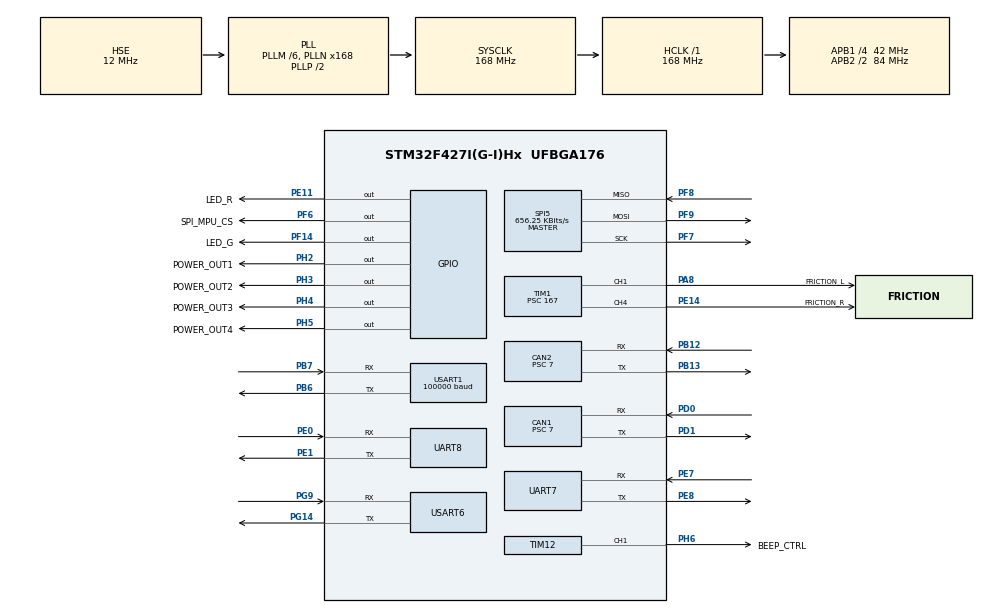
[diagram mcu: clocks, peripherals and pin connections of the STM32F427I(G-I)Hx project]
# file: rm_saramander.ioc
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CAN1.BS1=CAN_BS1_2TQ
CAN1.BS2=CAN_BS2_3TQ
CAN1.CalculateTimeQuantum=166.66666666666669
CAN1.NART=ENABLE
CAN1.Prescaler=7
CAN1.TXFP=ENABLE
CAN2.BS1=CAN_BS1_2TQ
CAN2.BS2=CAN_BS2_3TQ
CAN2.CalculateTimeQuantum=166.66666666666669
CAN2.NART=ENABLE
CAN2.Prescaler=7
CAN2.TXFP=ENABLE
Mcu.Family=STM32F4
Mcu.Name=STM32F427I(G-I)Hx
Mcu.Package=UFBGA176
NVIC.CAN1_RX0_IRQn=true\:0\:0\:false\:false\:true\:true\:true
NVIC.CAN1_RX1_IRQn=true\:0\:0\:false\:false\:true\:true\:true
NVIC.CAN2_RX0_IRQn=true\:0\:0\:false\:false\:true\:true\:true
NVIC.CAN2_RX1_IRQn=true\:0\:0\:false\:false\:true\:true\:true
NVIC.PriorityGroup=NVIC_PRIORITYGROUP_4
NVIC.TIM6_DAC_IRQn=true\:1\:0\:true\:false\:true\:true\:true
NVIC.UART8_IRQn=true\:0\:0\:false\:false\:true\:true\:true
NVIC.USART1_IRQn=true\:0\:0\:false\:false\:true\:true\:true
NVIC.USART6_IRQn=true\:0\:0\:false\:false\:true\:true\:true
PA13.Mode=Serial_Wire
PA13.Signal=SYS_JTMS-SWDIO
PA14.Mode=Serial_Wire
PA14.Signal=SYS_JTCK-SWCLK
PA8.GPIO_Label=FRICTION_L
PA8.Signal=S_TIM1_CH1
PB12.Mode=Slave
PB12.Signal=CAN2_RX
PB13.Mode=Slave
PB13.Signal=CAN2_TX
PB6.Mode=Asynchronous
PB6.Signal=USART1_TX
PB7.Mode=Asynchronous
PB7.Signal=USART1_RX
PD0.Mode=Master
PD0.Signal=CAN1_RX
PD1.Mode=Master
PD1.Signal=CAN1_TX
PE0.Mode=Asynchronous
PE0.Signal=UART8_RX
PE1.Mode=Asynchronous
PE1.Signal=UART8_TX
PE11.GPIO_Label=LED_R
PE11.PinState=GPIO_PIN_SET
PE11.Signal=GPIO_Output
PE14.GPIO_Label=FRICTION_R
PE14.Signal=S_TIM1_CH4
PE7.Mode=Asynchronous
PE7.Signal=UART7_RX
PE8.Mode=Asynchronous
PE8.Signal=UART7_TX
PF14.GPIO_Label=LED_G
PF14.PinState=GPIO_PIN_SET
PF14.Signal=GPIO_Output
PF6.GPIO_Label=SPI_MPU_CS
PF6.PinState=GPIO_PIN_SET
PF6.Signal=GPIO_Output
PF7.Mode=Full_Duplex_Master
PF7.Signal=SPI5_SCK
PF8.Mode=Full_Duplex_Master
PF8.Signal=SPI5_MISO
PF9.Mode=Full_Duplex_Master
PF9.Signal=SPI5_MOSI
PG14.Mode=Asynchronous
PG14.Signal=USART6_TX
PG9.Mode=Asynchronous
PG9.Signal=USART6_RX
PH0/OSC_IN.Mode=HSE-External-Oscillator
PH0/OSC_IN.Signal=RCC_OSC_IN
PH1/OSC_OUT.Mode=HSE-External-Oscillator
PH1/OSC_OUT.Signal=RCC_OSC_OUT
PH2.GPIO_Label=POWER_OUT1
PH2.Signal=GPIO_Output
PH3.GPIO_Label=POWER_OUT2
PH3.Signal=GPIO_Output
PH4.GPIO_Label=POWER_OUT3
PH4.Signal=GPIO_Output
PH5.GPIO_Label=POWER_OUT4
PH5.Signal=GPIO_Output
PH6.GPIO_Label=BEEP_CTRL
PH6.Signal=S_TIM12_CH1
ProjectManager.HeapSize=0x200
ProjectManager.StackSize=0x400
ProjectManager.TargetToolchain=STM32CubeIDE
RCC.48MHZClocksFreq_Value=84000000
RCC.AHBFreq_Value=168000000
RCC.APB1CLKDivider=RCC_HCLK_DIV4
RCC.APB1Freq_Value=42000000
RCC.APB1TimFreq_Value=84000000
RCC.APB2CLKDivider=RCC_HCLK_DIV2
RCC.APB2Freq_Value=84000000
RCC.APB2TimFreq_Value=168000000
RCC.CortexFreq_Value=168000000
RCC.HCLKFreq_Value=168000000
RCC.HSE_VALUE=12000000
RCC.HSI_VALUE=16000000
RCC.LSE_VALUE=32768
RCC.PLLM=6
RCC.PLLN=168
RCC.PLLSourceVirtual=RCC_PLLSOURCE_HSE
RCC.SYSCLKFreq_VALUE=168000000
RCC.SYSCLKSource=RCC_SYSCLKSOURCE_PLLCLK
RCC.VCOOutputFreq_Value=336000000
SH.S_TIM12_CH1.0=TIM12_CH1,PWM Generation1 CH1
SH.S_TIM1_CH1.0=TIM1_CH1,PWM Generation1 CH1
SH.S_TIM1_CH4.0=TIM1_CH4,PWM Generation4 CH4
SPI5.BaudRatePrescaler=SPI_BAUDRATEPRESCALER_128
SPI5.CalculateBaudRate=656.25 KBits/s
SPI5.Direction=SPI_DIRECTION_2LINES
SPI5.Mode=SPI_MODE_MASTER
SPI5.VirtualType=VM_MASTER
TIM1.Channel-PWM\ Generation1\ CH1=TIM_CHANNEL_1
TIM1.Channel-PWM\ Generation4\ CH4=TIM_CHANNEL_4
TIM1.Period=20000-1
TIM1.Prescaler=167
TIM1.Pulse-PWM\ Generation1\ CH1=1000
TIM1.Pulse-PWM\ Generation4\ CH4=1000
TIM12.Channel-PWM\ Generation1\ CH1=TIM_CHANNEL_1
TIM12.Period=20000-1
TIM12.Prescaler=83
TIM6.Period=16800
TIM6.Prescaler=10-1
UART7.VirtualMode=Asynchronous
UART8.VirtualMode=Asynchronous
USART1.BaudRate=100000
USART1.Mode=MODE_TX_RX
USART1.Parity=PARITY_NONE
USART1.VirtualMode=VM_ASYNC
USART6.VirtualMode=VM_ASYNC
VP_TIM6_VS_ClockSourceINT.Mode=Enable_Timer
board=custom

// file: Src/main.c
/**
  ******************************************************************************
  * @file           : main.c
  * @brief          : Main program body
  ******************************************************************************
  ** This notice applies to any and all portions of this file
  * that are not between comment pairs USER CODE BEGIN and
  * USER CODE END. Other portions of this file, whether
  * inserted by the user or by software development tools
  * are owned by their respective copyright owners.
  *
  * COPYRIGHT(c) 2019 STMicroelectronics
  *
  * Redistribution and use in source and binary forms, with or without modification,
  * are permitted provided that the following conditions are met:
  *   1. Redistributions of source code must retain the above copyright notice,
  *      this list of conditions and the following disclaimer.
  *   2. Redistributions in binary form must reproduce the above copyright notice,
  *      this list of conditions and the following disclaimer in the documentation
  *      and/or other materials provided with the distribution.
  *   3. Neither the name of STMicroelectronics nor the names of its contributors
  *      may be used to endorse or promote products derived from this software
  *      without specific prior written permission.
  *
  * THIS SOFTWARE IS PROVIDED BY THE COPYRIGHT HOLDERS AND CONTRIBUTORS "AS IS"
  * AND ANY EXPRESS OR IMPLIED WARRANTIES, INCLUDING, BUT NOT LIMITED TO, THE
  * IMPLIED WARRANTIES OF MERCHANTABILITY AND FITNESS FOR A PARTICULAR PURPOSE ARE
  * DISCLAIMED. IN NO EVENT SHALL THE COPYRIGHT HOLDER OR CONTRIBUTORS BE LIABLE
  * FOR ANY DIRECT, INDIRECT, INCIDENTAL, SPECIAL, EXEMPLARY, OR CONSEQUENTIAL
  * DAMAGES (INCLUDING, BUT NOT LIMITED TO, PROCUREMENT OF SUBSTITUTE GOODS OR
  * SERVICES; LOSS OF USE, DATA, OR PROFITS; OR BUSINESS INTERRUPTION) HOWEVER
  * CAUSED AND ON ANY THEORY OF LIABILITY, WHETHER IN CONTRACT, STRICT LIABILITY,
  * OR TORT (INCLUDING NEGLIGENCE OR OTHERWISE) ARISING IN ANY WAY OUT OF THE USE
  * OF THIS SOFTWARE, EVEN IF ADVISED OF THE POSSIBILITY OF SUCH DAMAGE.
  *
  ******************************************************************************
  */
#include "main.h"
#include "stm32f4xx_hal.h"
#include "can.h"
#include "spi.h"
#include "tim.h"
#include "usart.h"
#include "gpio.h"

/* USER CODE BEGIN Includes */
#include "math.h"
#include "remote_controller.h"
#include "wheel.h"
#include "pid.h"
#include "motor.h"
#include "mecanum.h"
//#include "disp.h"
//#include "xprintf.h"
#include "motor_fdb.h"
/* USER CODE END Includes */

/* USER CODE BEGIN PV */
/* Private variables ---------------------------------------------------------*/
__uint8_t rcData[18];
struct rc_info_t rc;
wheel_fdb_t wheelFdb[4];
uint8_t canRxData[8];
CAN_RxHeaderTypeDef canRxHeader;
motor_fdb gimbalYawFdb, gimbalPitchFdb, loadMotorFdb;
struct mecanum mecanum;
_pid_t wheelPID[4], loadPID;
int16_t target_yaw,target_pich;
int16_t yaw_now,pich_now;
float DBUFF[32];

#ifdef __GNUC__
#define PUTCHAR_PROTOTYPE int __io_putchar(int ch)
#else
#define PUTCHAR_PROTOTYPE int fputc(int ch, FILE *f)
#endif /* __GNUC__ */
void __io_putchar(uint8_t ch) {
HAL_UART_Transmit(&huart7, &ch, 1, 1);
}

/* USER CODE END PV */

void SystemClock_Config(void);

/* USER CODE BEGIN PFP */
/* Private function prototypes -----------------------------------------------*/
void timerTask();
void initPID();
void initMecanum();
void driveWheelTask();
void initFriction();
void initLoadPID();
void Gimbal_Task();
/* USER CODE END PFP */

/* USER CODE BEGIN 0 */

long map(long x, long in_min, long in_max, long out_min, long out_max) {
	  return (x - in_min) * (out_max - out_min) / (in_max - in_min) + out_min;
}

void timerTask() { //call 500Hz
	driveWheelTask();
	Gimbal_Task();
}
float cnt;
/* USER CODE END 0 */

int main(void)
{

  /* MCU Configuration----------------------------------------------------------*/

  /* Reset of all peripherals, Initializes the Flash interface and the Systick. */
  HAL_Init();

  /* Configure the system clock */
  SystemClock_Config();

  /* Initialize all configured peripherals */
  MX_GPIO_Init();
  MX_TIM6_Init();
  MX_SPI5_Init();
  MX_CAN2_Init();
  MX_CAN1_Init();
  MX_TIM12_Init();
  MX_TIM1_Init();
  MX_USART1_UART_Init();
  MX_UART7_Init();
  MX_UART8_Init();
  MX_USART6_UART_Init();
  /* USER CODE BEGIN 2 */
  HAL_GPIO_WritePin(GPIOE, GPIO_PIN_11, 0);
  HAL_TIM_PWM_Start(&htim1, TIM_CHANNEL_1); // friction wheel
  HAL_TIM_PWM_Start(&htim1, TIM_CHANNEL_4);
  initFriction();
  initPID();
  initLoadPID();
  initCanFilter();
  initMecanum();
  HAL_UART_Receive_IT(&huart1, rcData, 18);
  HAL_TIM_Base_Start_IT(&htim6);
  setbuf(stdout, NULL);
  HAL_CAN_Start(&hcan1);
  HAL_CAN_Start(&hcan2);
  HAL_CAN_ActivateNotification(&hcan1, CAN_IT_RX_FIFO0_MSG_PENDING);
  HAL_CAN_ActivateNotification(&hcan2, CAN_IT_RX_FIFO0_MSG_PENDING);
  HAL_GPIO_WritePin(POWER_OUT1_GPIO_Port, POWER_OUT1_Pin, 1);
  HAL_GPIO_WritePin(POWER_OUT2_GPIO_Port, POWER_OUT2_Pin, 1);
  HAL_GPIO_WritePin(POWER_OUT3_GPIO_Port, POWER_OUT3_Pin, 1);
  HAL_GPIO_WritePin(POWER_OUT4_GPIO_Port, POWER_OUT4_Pin, 1);
  HAL_GPIO_WritePin(GPIOE, GPIO_PIN_11, 1);
  /* USER CODE END 2 */

  /* Infinite loop */
  while (1)
  {

  /* USER CODE BEGIN 3 */

	 /* printf("ch1=%d ch2=%d ch3=%d ch4=%d ch5=%d sw1=%d sw2=%d m_x=%d m_y=%d m_l=%d m_r=%d W=%d S=%d A=%d D=%d Q=%d E=%d Shift=%d Ctrl=%d"
			 ,rc.ch1,rc.ch2,rc.ch3,rc.ch4,rc.ch5,rc.sw1,rc.sw2,rc.mouse_x, rc.mouse_y,rc.mouse_press_l,rc.mouse_press_r
			 ,rc.key_W,rc.key_S,rc.key_A,rc.key_D,rc.key_Q,rc.key_E,rc.key_Shift,rc.key_Ctrl);*/
	  printf("M0=%d M1=%d M2=%d M3=%d",wheelFdb[0].rpm,wheelFdb[1].rpm,wheelFdb[2].rpm,wheelFdb[3].rpm);
	  //printf(" target_yaw=%d angle=%f",target_yaw,(float)((gimbalYawFdb.angle-4096.0)/8191.0*360.0));
	  printf("\r\n");

  }
  /* USER CODE END 3 */

}

void SystemClock_Config(void)
{

  RCC_OscInitTypeDef RCC_OscInitStruct;
  RCC_ClkInitTypeDef RCC_ClkInitStruct;

    /**Configure the main internal regulator output voltage
    */
  __HAL_RCC_PWR_CLK_ENABLE();

  __HAL_PWR_VOLTAGESCALING_CONFIG(PWR_REGULATOR_VOLTAGE_SCALE1);

    /**Initializes the CPU, AHB and APB busses clocks
    */
  RCC_OscInitStruct.OscillatorType = RCC_OSCILLATORTYPE_HSE;
  RCC_OscInitStruct.HSEState = RCC_HSE_ON;
  RCC_OscInitStruct.PLL.PLLState = RCC_PLL_ON;
  RCC_OscInitStruct.PLL.PLLSource = RCC_PLLSOURCE_HSE;
  RCC_OscInitStruct.PLL.PLLM = 6;
  RCC_OscInitStruct.PLL.PLLN = 168;
  RCC_OscInitStruct.PLL.PLLP = RCC_PLLP_DIV2;
  RCC_OscInitStruct.PLL.PLLQ = 4;
  if (HAL_RCC_OscConfig(&RCC_OscInitStruct) != HAL_OK)
  {
    _Error_Handler(__FILE__, __LINE__);
  }

    /**Initializes the CPU, AHB and APB busses clocks
    */
  RCC_ClkInitStruct.ClockType = RCC_CLOCKTYPE_HCLK|RCC_CLOCKTYPE_SYSCLK
                              |RCC_CLOCKTYPE_PCLK1|RCC_CLOCKTYPE_PCLK2;
  RCC_ClkInitStruct.SYSCLKSource = RCC_SYSCLKSOURCE_PLLCLK;
  RCC_ClkInitStruct.AHBCLKDivider = RCC_SYSCLK_DIV1;
  RCC_ClkInitStruct.APB1CLKDivider = RCC_HCLK_DIV4;
  RCC_ClkInitStruct.APB2CLKDivider = RCC_HCLK_DIV2;

  if (HAL_RCC_ClockConfig(&RCC_ClkInitStruct, FLASH_LATENCY_5) != HAL_OK)
  {
    _Error_Handler(__FILE__, __LINE__);
  }

    /**Configure the Systick interrupt time
    */
  HAL_SYSTICK_Config(HAL_RCC_GetHCLKFreq()/1000);

    /**Configure the Systick
    */
  HAL_SYSTICK_CLKSourceConfig(SYSTICK_CLKSOURCE_HCLK);

  /* SysTick_IRQn interrupt configuration */
  HAL_NVIC_SetPriority(SysTick_IRQn, 0, 0);
}

/* USER CODE BEGIN 4 */
void HAL_TIM_PeriodElapsedCallback(TIM_HandleTypeDef *htim) {
	static long unsigned int c = 0;
	c++;
	if (htim->Instance == htim6.Instance) {//500Hz
		timerTask();
		HAL_GPIO_TogglePin(LED_G_GPIO_Port, LED_G_Pin);
	}
}

void HAL_UART_RxCpltCallback(UART_HandleTypeDef *UartHandle) {
	if (UartHandle->Instance == huart1.Instance) {	//Propo-receive Interrupts
		HAL_UART_Receive_IT(&huart1, rcData, 18);
		//HAL_GPIO_TogglePin(LED_R_GPIO_Port, LED_R_Pin);
		rc.ch1 = (((rcData[1] & 0x07) << 8) | rcData[0]);
		rc.ch1 -= 1024;
		rc.ch2 = (((rcData[2] & 0x3F) << 5) | (rcData[1] >> 3));
		rc.ch2 -= 1024;
		rc.ch3 = (((rcData[4] & 0x01) << 10) | (rcData[3] << 2)
				| (rcData[2] >> 6));
		rc.ch3 -= 1024;
		rc.ch4 = (((rcData[5] & 0x0F) << 7) | (rcData[4] >> 1));
		rc.ch4 -= 1024;
		rc.ch5 = (rcData[17]<<8) | rcData[16];
		rc.ch5 = 1024-rc.ch5;
		rc.sw1 = ((rcData[5] & 0x30) >> 4);
		rc.sw2 = ((rcData[5] & 0xC0) >> 6);
		rc.mouse_x = ((int16_t)rcData[6]) | ((int16_t)rcData[7] << 8);
		rc.mouse_y = ((int16_t)rcData[8]) | ((int16_t)rcData[9] << 8);
		rc.mouse_z = ((int16_t)rcData[10]) | ((int16_t)rcData[11] << 8);
		rc.mouse_press_l = rcData[12];
		rc.mouse_press_r = rcData[13];
		rc.key_v = ((int16_t)rcData[14]);
		rc.key_W =     (0b0000000000000001 & rc.key_v);
		rc.key_S =     (0b0000000000000010 & rc.key_v)>>1;
		rc.key_A =     (0b0000000000000100 & rc.key_v)>>2;
		rc.key_D =     (0b0000000000001000 & rc.key_v)>>3;
		rc.key_Shift = (0b0000000000010000 & rc.key_v)>>4;
		rc.key_Ctrl =  (0b0000000000100000 & rc.key_v)>>5;
		rc.key_Q =     (0b0000000001000000 & rc.key_v)>>6;
		rc.key_E =     (0b0000000010000000 & rc.key_v)>>7;

	}
}

//can fifo0 receive interrupt
void HAL_CAN_RxFifo0MsgPendingCallback(CAN_HandleTypeDef *hcan) {
	/* Get RX message */
	if (hcan->Instance == hcan2.Instance) {// can2 bus receive interrupt
		HAL_CAN_GetRxMessage(hcan, CAN_RX_FIFO0, &canRxHeader, canRxData);
		//check ESC identifier
		int id = canRxHeader.StdId - 513;

		wheelFdb[id].angle = canRxData[0] * 256 + canRxData[1];
		wheelFdb[id].rpm = canRxData[2] * 256 + canRxData[3];
		wheelFdb[id].torque = canRxData[4] * 256 + canRxData[5];
		wheelFdb[id].temp = canRxData[6];
		wheelFdb[id].omg = 6.28318530718 * (wheelFdb[id].rpm) / 1140.0;
	}
	if (hcan->Instance == hcan1.Instance) {// can1 bus receive interrupt
		HAL_CAN_GetRxMessage(hcan, CAN_RX_FIFO0, &canRxHeader, canRxData);
		motor_fdb *fdb = 0;
		switch (canRxHeader.StdId) {
		case 0x205:
			fdb = &gimbalYawFdb;
			break;
		case 0x206:
			fdb = &gimbalPitchFdb;
			break;
		case 0x207:
			fdb = &loadMotorFdb;
			break;
		}
		fdb->angle = canRxData[0] * 256 + canRxData[1];
		fdb->rpm = canRxData[2] * 256 + canRxData[3];
		fdb->torque = canRxData[4] * 256 + canRxData[5];
		fdb->temp = canRxData[6];
		fdb->omg = 6.28318530718 * (fdb->rpm) / 1140.0;
	}
}

void driveWheelTask() {

	mecanum.speed.vx = (float) rc.ch4 / 660 * MAX_CHASSIS_VX_SPEED;
	mecanum.speed.vy = -(float) rc.ch3 / 660 * MAX_CHASSIS_VX_SPEED;
	mecanum.speed.vw = -(float) rc.ch1 / 660 * MAX_CHASSIS_VW_SPEED;

	mecanum_calculate(&mecanum);

	int16_t u[4];
	for (int i = 0; i < 4; i++) {
		int error = mecanum.wheel_rpm[i] - wheelFdb[i].rpm;
		wheelPID[i].error = error;
		u[i] = (int16_t) pidExecute(&(wheelPID[i]));
	}
	driveWheel(u);
}

void initPID() {
	for (int i = 0; i < 4; i++) {
		wheelPID[i].t = 2.0f;
		wheelPID[i].p = 6.5f;
		wheelPID[i].i = 50.0f;
		wheelPID[i].d = 0.0f;
		wheelPID[i].outLimit = 15000.0f;
		wheelPID[i].integralOutLimit = 500.0f;
		wheelPID[i].differentialFilterRate = 0.9f;
	}
}

void initMecanum() {
	mecanum.param.wheel_perimeter = PERIMETER;
	mecanum.param.wheeltrack = WHEELTRACK;
	mecanum.param.wheelbase = WHEELBASE;
	mecanum.param.rotate_x_offset = 0;
	mecanum.param.rotate_y_offset = 0;
}

void initFriction() {
	__HAL_TIM_SET_COMPARE(&htim1, TIM_CHANNEL_1, 1500);
	__HAL_TIM_SET_COMPARE(&htim1, TIM_CHANNEL_4, 1500);
	HAL_Delay(3000);
	__HAL_TIM_SET_COMPARE(&htim1, TIM_CHANNEL_1, 1220);
	__HAL_TIM_SET_COMPARE(&htim1, TIM_CHANNEL_4, 1220);
	HAL_Delay(5000);
	for (int i = 1220; i < 1400; i++) {
		__HAL_TIM_SET_COMPARE(&htim1, TIM_CHANNEL_1, i);
		__HAL_TIM_SET_COMPARE(&htim1, TIM_CHANNEL_4, i);
		HAL_Delay(30);
	}
}

void initLoadPID() {
	loadPID.t = 2.0f;
	loadPID.p = 10.0f;
	loadPID.i = 0.1f*500;
	loadPID.d = 0.07f;
	loadPID.outLimit = 30000.0f;
	loadPID.integralOutLimit = 10000.0f;
	loadPID.differentialFilterRate = 0.9f;
}

void Gimbal_Task(){
	int fire = 0;
	int16_t u[4];
	if (rc.sw2 == 1) {
		fire = 1;
	} else {
		fire = 0;
	}
	DBUFF[1] = loadPID.error = -900.0f*fire - loadMotorFdb.rpm;
	DBUFF[3] = u[2] = pidExecute(&loadPID);

	target_yaw =(float) rc.ch1 / 660 * 70;
	yaw_now=(float)((gimbalYawFdb.angle-4096.0)/8191.0*360.0);
	if(fabs(target_yaw-yaw_now)>2){
		u[0]=map(target_yaw-yaw_now, -180, 180, -30000, 30000);
	}
	else{
	u[0]=0;
	}

	target_pich=(float) rc.ch2 / 660 * (-30);
	pich_now=(float)((gimbalPitchFdb.angle-4096.0)/8191.0*360.0)+24;
	if(fabs(target_pich-pich_now)>2){
		u[1]=map(target_pich-pich_now, -25, 15, -7000, 7000);
	}
	else{
	u[1]=0;
	}

	u[3]=0;
	driveGimbalMotors(u);
}

/* USER CODE END 4 */

void _Error_Handler(char *file, int line)
{
  while(1)
  {
  }
}

/************************ (C) COPYRIGHT STMicroelectronics *****END OF FILE****/
